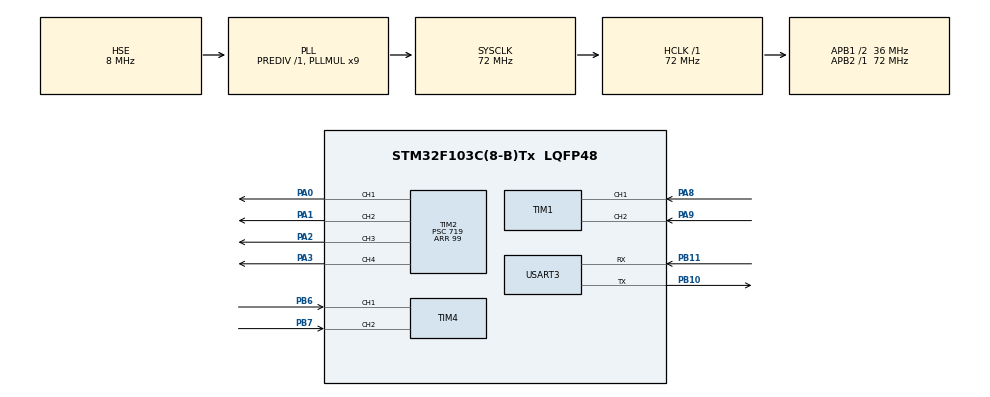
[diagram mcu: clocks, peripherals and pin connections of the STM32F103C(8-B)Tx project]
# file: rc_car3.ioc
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Dma.Request0=USART3_RX
Dma.Request1=USART3_TX
Dma.USART3_RX.0.Direction=DMA_PERIPH_TO_MEMORY
Dma.USART3_RX.0.Instance=DMA1_Channel3
Dma.USART3_RX.0.MemDataAlignment=DMA_MDATAALIGN_BYTE
Dma.USART3_RX.0.MemInc=DMA_MINC_ENABLE
Dma.USART3_RX.0.Mode=DMA_NORMAL
Dma.USART3_RX.0.PeriphDataAlignment=DMA_PDATAALIGN_BYTE
Dma.USART3_RX.0.PeriphInc=DMA_PINC_DISABLE
Dma.USART3_RX.0.Priority=DMA_PRIORITY_LOW
Dma.USART3_TX.1.Direction=DMA_MEMORY_TO_PERIPH
Dma.USART3_TX.1.Instance=DMA1_Channel2
Dma.USART3_TX.1.MemDataAlignment=DMA_MDATAALIGN_BYTE
Dma.USART3_TX.1.MemInc=DMA_MINC_ENABLE
Dma.USART3_TX.1.Mode=DMA_NORMAL
Dma.USART3_TX.1.PeriphDataAlignment=DMA_PDATAALIGN_BYTE
Dma.USART3_TX.1.PeriphInc=DMA_PINC_DISABLE
Dma.USART3_TX.1.Priority=DMA_PRIORITY_LOW
Mcu.Family=STM32F1
Mcu.Name=STM32F103C(8-B)Tx
Mcu.Package=LQFP48
NVIC.DMA1_Channel2_IRQn=true\:0\:0\:false\:false\:true\:false\:true\:true
NVIC.DMA1_Channel3_IRQn=true\:0\:0\:false\:false\:true\:false\:true\:true
NVIC.PriorityGroup=NVIC_PRIORITYGROUP_4
NVIC.TIM3_IRQn=true\:0\:0\:true\:false\:true\:true\:true\:true
NVIC.USART3_IRQn=true\:3\:0\:true\:false\:true\:true\:true\:true
PA0-WKUP.Signal=S_TIM2_CH1_ETR
PA1.Signal=S_TIM2_CH2
PA13.Mode=Serial_Wire
PA13.Signal=SYS_JTMS-SWDIO
PA14.Mode=Serial_Wire
PA14.Signal=SYS_JTCK-SWCLK
PA2.Signal=S_TIM2_CH3
PA3.Signal=S_TIM2_CH4
PA8.GPIO_PuPd=GPIO_PULLUP
PA8.Signal=S_TIM1_CH1
PA9.GPIO_PuPd=GPIO_PULLUP
PA9.Signal=S_TIM1_CH2
PB10.Mode=Asynchronous
PB10.Signal=USART3_TX
PB11.Mode=Asynchronous
PB11.Signal=USART3_RX
PB6.GPIO_PuPd=GPIO_PULLUP
PB6.Signal=S_TIM4_CH1
PB7.GPIO_PuPd=GPIO_PULLUP
PB7.Signal=S_TIM4_CH2
PD0-OSC_IN.Mode=HSE-External-Oscillator
PD0-OSC_IN.Signal=RCC_OSC_IN
PD1-OSC_OUT.Mode=HSE-External-Oscillator
PD1-OSC_OUT.Signal=RCC_OSC_OUT
ProjectManager.HeapSize=0x200
ProjectManager.StackSize=0x400
ProjectManager.TargetToolchain=STM32CubeIDE
RCC.AHBFreq_Value=72000000
RCC.APB1CLKDivider=RCC_HCLK_DIV2
RCC.APB1Freq_Value=36000000
RCC.APB1TimFreq_Value=72000000
RCC.APB2Freq_Value=72000000
RCC.APB2TimFreq_Value=72000000
RCC.HCLKFreq_Value=72000000
RCC.PLLMUL=RCC_PLL_MUL9
RCC.PLLSourceVirtual=RCC_PLLSOURCE_HSE
RCC.SYSCLKFreq_VALUE=72000000
RCC.SYSCLKSource=RCC_SYSCLKSOURCE_PLLCLK
RCC.USBFreq_Value=72000000
SH.S_TIM1_CH1.0=TIM1_CH1,Encoder_Interface
SH.S_TIM1_CH2.0=TIM1_CH2,Encoder_Interface
SH.S_TIM2_CH1_ETR.0=TIM2_CH1,PWM Generation1 CH1
SH.S_TIM2_CH2.0=TIM2_CH2,PWM Generation2 CH2
SH.S_TIM2_CH3.0=TIM2_CH3,PWM Generation3 CH3
SH.S_TIM2_CH4.0=TIM2_CH4,PWM Generation4 CH4
SH.S_TIM4_CH1.0=TIM4_CH1,Encoder_Interface
SH.S_TIM4_CH2.0=TIM4_CH2,Encoder_Interface
TIM2.Channel-PWM\ Generation1\ CH1=TIM_CHANNEL_1
TIM2.Channel-PWM\ Generation2\ CH2=TIM_CHANNEL_2
TIM2.Channel-PWM\ Generation3\ CH3=TIM_CHANNEL_3
TIM2.Channel-PWM\ Generation4\ CH4=TIM_CHANNEL_4
TIM2.Period=99
TIM2.Prescaler=719
TIM3.Period=99
TIM3.Prescaler=7199
USART3.VirtualMode=VM_ASYNC
VP_TIM2_VS_ClockSourceINT.Mode=Internal
VP_TIM3_VS_ClockSourceINT.Mode=Internal
board=custom

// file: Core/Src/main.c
/* USER CODE BEGIN Header */
/**
  ******************************************************************************
  * @file           : main.c
  * @brief          : Main program body
  ******************************************************************************
  * @attention
  *
  * Copyright (c) 2025 STMicroelectronics.
  * All rights reserved.
  *
  * This software is licensed under terms that can be found in the LICENSE file
  * in the root directory of this software component.
  * If no LICENSE file comes with this software, it is provided AS-IS.
  *
  ******************************************************************************
  */
/* USER CODE END Header */
#include "main.h"

/* USER CODE BEGIN Includes */
#include "stdio.h"
#include "string.h"
#include "../UserCode/Motor/motor.h"
#include "../UserCode/PID/pid.h"
#include "../UserCode/Serial/serial.h"
//#include "../UserCode/Motion/motion.h"
/* USER CODE END Includes */

//TIM_HandleTypeDef htim1;
//TIM_HandleTypeDef htim2;
//TIM_HandleTypeDef htim3;
//TIM_HandleTypeDef htim4;

//UART_HandleTypeDef huart3;
DMA_HandleTypeDef hdma_usart3_rx;
DMA_HandleTypeDef hdma_usart3_tx;

/* USER CODE BEGIN PV */
Motor_t tmotor1;
Motor_t tmotor2;

extern PROCESS_t tprocess;
PID_CONTROL_t tpid_ctrl1;
PID_CONTROL_t tpid_ctrl2;
extern char scmd[4];
extern float fset_point;
extern float fset_point1;
extern float fset_point2;
extern float fkp;
extern float fki;
extern float fkd;

extern float fkp1;
extern float fki1;
extern float fkd1;
extern float fkp2;
extern float fki2;
extern float fkd2;
uint8_t pid_init_flag = 0;

uint8_t rxB2B;
//uint8_t rxRawBuf[30] = { NULL };
uint8_t rxRawBuf[60] = { NULL };

volatile int8_t ptr;

/* USER CODE END PV */

void SystemClock_Config(void);
void MX_GPIO_Init(void);
static void MX_DMA_Init(void);
void MX_TIM2_Init(void);
void MX_TIM3_Init(void);
void MX_TIM1_Init(void);
void MX_TIM4_Init(void);
void MX_USART3_UART_Init(void);

int main(void)
{

  /* MCU Configuration--------------------------------------------------------*/

  /* Reset of all peripherals, Initializes the Flash interface and the Systick. */
  HAL_Init();

  /* Configure the system clock */
  SystemClock_Config();

  /* Initialize all configured peripherals */
  MX_GPIO_Init();
  MX_DMA_Init();
  MX_TIM2_Init();
  MX_TIM3_Init();
  MX_TIM1_Init();
  MX_TIM4_Init();
  MX_USART3_UART_Init();
  /* USER CODE BEGIN 2 */
  motor_init(&tmotor1, 1);
  motor_init(&tmotor2, 2);
  pid_init(&tpid_ctrl1, 1, 0.5, 0, PID_CONTROLLER_LIMIT_MAX, PID_CONTROLLER_LIMIT_MIN, SAMPLING_TIME);
  pid_init(&tpid_ctrl2, 1, 0.5, 0, PID_CONTROLLER_LIMIT_MAX, PID_CONTROLLER_LIMIT_MIN, SAMPLING_TIME);
  serial_init();
  HAL_UART_Receive_DMA(&huart3, &rxB2B, 1);
//	HAL_UART_Receive_IT(&huart3, &rxB2B, 20);

  //  pid_tunning_set(&tpid_ctrl1, fkp, fki, fkd)
  /* USER CODE END 2 */

  /* Infinite loop */
  while (1)
   {

     /* USER CODE BEGIN 3 */
 	    switch (tprocess)
 	    {
 	    case NONE:
 	    	motor_deinit(&tmotor1, 1);
 	    	motor_deinit(&tmotor2, 2);

 	    	tmotor1.fposition = 0;
 	    	tmotor2.fposition = 0;
 	    	tmotor1.freference_position = 0;
 	    	tmotor2.freference_position = 0;
 	    	  motor_init(&tmotor1, 1);
 	    	  motor_init(&tmotor2, 2);
//			  motor_reset(&tmotor1); //moi them
//			  motor_reset(&tmotor2); //moi them
 	      break;
 	    case SPID:
          tprocess = NONE;
 	      break;
 	    case VTUN:
 	      break;
 	    case PTUN:
 	      break;
 	    case STOP:
 	      tprocess = NONE;
 	      break;
 	    }
   }
  /* USER CODE END 3 */
}

/* USER CODE BEGIN 4 */
void HAL_TIM_PeriodElapsedCallback(TIM_HandleTypeDef *htim)	// 10ms = 0.01s
{
	if (htim->Instance == htim3.Instance)
	{
			motor_read_encoder(&tmotor1, &ENCODER_TIMER1);
			motor_read_encoder(&tmotor2, &ENCODER_TIMER2);
		  switch (tprocess) {
			case NONE:
				break;
			case SPID:
				break;
			case VTUN:
				motor_set_velocity(&tmotor1, &tpid_ctrl1, fset_point1);
				motor_set_velocity(&tmotor2, &tpid_ctrl2, fset_point2);
//				serial_write_com(scmd, tmotor1.fvelocity, tpid_ctrl1.fkp, tpid_ctrl1.fki, tpid_ctrl1.fkd); //Transmit o day thi ok vi khong bị interrupt làm gián đoạn
				break;
			case PTUN:
				motor_set_position(&tmotor1, &tpid_ctrl1, fset_point1);
				motor_set_position(&tmotor2, &tpid_ctrl2, fset_point2);

//				serial_write_com(scmd, tmotor1.fposition, tpid_ctrl1.fkp, tpid_ctrl1.fki, tpid_ctrl1.fkd); //Transmit o day thi ok vi khong bị interrupt làm gián đoạn
				break;
			case STOP:
				break;
//			case RSET:
//				break;
		}
	}
}

void HAL_UART_RxCpltCallback(UART_HandleTypeDef *huart)
{
	if (huart->Instance == huart3.Instance)
	{
		rxRawBuf[ptr] = rxB2B;
		ptr++;
		if (rxRawBuf[ptr - 1] == '\n')
		{
//			sscanf(rxRawBuf, "%s %f %f %f %f %f", scmd, &fset_point1, &fset_point2, &fkp, &fki, &fkd);
			sscanf(rxRawBuf, "%s %f %f %f %f %f %f %f %f", scmd, &fset_point1, &fset_point2, &fkp1, &fki1, &fkd1, &fkp2, &fki2, &fkd2);

			if (StrCompare(scmd, (uint8_t*)"SPID", 4))
			{
			  pid_tunning_set(&tpid_ctrl1, fkp1, fki1, fkd1);
			  pid_tunning_set(&tpid_ctrl2, fkp2, fki2, fkd2);

			  motor_deinit(&tmotor1, 1);
			  motor_deinit(&tmotor2, 2);
			  motor_init(&tmotor1, 1);
			  motor_init(&tmotor2, 2);

			  /* To ensure stop moving */
			  htim2.Instance->CCR1 = 0;
			  htim2.Instance->CCR2 = 0;
			  htim2.Instance->CCR3 = 0;
			  htim2.Instance->CCR4 = 0;

			  tprocess = SPID;
			}
			else if (StrCompare(scmd, (uint8_t*)"VTUN", 4))
			{
			  tmotor1.freference_velocity = fset_point1;
			  tmotor2.freference_velocity = fset_point2;

			  tprocess = VTUN;
			}
			else if (StrCompare(scmd, (uint8_t*)"PTUN", 4))
			{
			  tmotor1.freference_position = fset_point1;
			  tmotor2.freference_position = fset_point2;

			  tprocess = PTUN;
			}
			else if (StrCompare(scmd, (uint8_t*)"STOP", 4))
			{
			  motor_deinit(&tmotor1, 1);
			  motor_deinit(&tmotor2, 2);
			  pid_reset(&tpid_ctrl1);

			  pid_reset(&tpid_ctrl2);
			  motor_reset(&tmotor1); //moi them
			  motor_reset(&tmotor2); //moi them

			  tprocess = STOP;
			}
			else if (StrCompare(scmd, (uint8_t*)"NONE", 4))
			{
			  tprocess = NONE;
			}
		    memset(rxRawBuf, '\0', sizeof(rxRawBuf));
		    ptr = 0;
		}
		if (strlen(rxRawBuf) > 50)		    memset(rxRawBuf, '\0', sizeof(rxRawBuf));
	}
//	HAL_UART_Receive_IT(&huart3, &rxB2B, 20);
	HAL_UART_Receive_DMA(&huart3, &rxB2B, 1);
}

void SystemClock_Config(void)
{
  RCC_OscInitTypeDef RCC_OscInitStruct = {0};
  RCC_ClkInitTypeDef RCC_ClkInitStruct = {0};

  /** Initializes the RCC Oscillators according to the specified parameters
  * in the RCC_OscInitTypeDef structure.
  */
  RCC_OscInitStruct.OscillatorType = RCC_OSCILLATORTYPE_HSE;
  RCC_OscInitStruct.HSEState = RCC_HSE_ON;
  RCC_OscInitStruct.HSEPredivValue = RCC_HSE_PREDIV_DIV1;
  RCC_OscInitStruct.HSIState = RCC_HSI_ON;
  RCC_OscInitStruct.PLL.PLLState = RCC_PLL_ON;
  RCC_OscInitStruct.PLL.PLLSource = RCC_PLLSOURCE_HSE;
  RCC_OscInitStruct.PLL.PLLMUL = RCC_PLL_MUL9;
  if (HAL_RCC_OscConfig(&RCC_OscInitStruct) != HAL_OK)
  {
    Error_Handler();
  }

  /** Initializes the CPU, AHB and APB buses clocks
  */
  RCC_ClkInitStruct.ClockType = RCC_CLOCKTYPE_HCLK|RCC_CLOCKTYPE_SYSCLK
                              |RCC_CLOCKTYPE_PCLK1|RCC_CLOCKTYPE_PCLK2;
  RCC_ClkInitStruct.SYSCLKSource = RCC_SYSCLKSOURCE_PLLCLK;
  RCC_ClkInitStruct.AHBCLKDivider = RCC_SYSCLK_DIV1;
  RCC_ClkInitStruct.APB1CLKDivider = RCC_HCLK_DIV2;
  RCC_ClkInitStruct.APB2CLKDivider = RCC_HCLK_DIV1;

  if (HAL_RCC_ClockConfig(&RCC_ClkInitStruct, FLASH_LATENCY_2) != HAL_OK)
  {
    Error_Handler();
  }
}

//static void MX_TIM1_Init(void)
//{
//
//  /* USER CODE BEGIN TIM1_Init 0 */
//
//  /* USER CODE END TIM1_Init 0 */
//
//  TIM_Encoder_InitTypeDef sConfig = {0};
//  TIM_MasterConfigTypeDef sMasterConfig = {0};
//
//  /* USER CODE BEGIN TIM1_Init 1 */
//
//  /* USER CODE END TIM1_Init 1 */
//  htim1.Instance = TIM1;
//  htim1.Init.Prescaler = 0;
//  htim1.Init.CounterMode = TIM_COUNTERMODE_UP;
//  htim1.Init.Period = 65535;
//  htim1.Init.ClockDivision = TIM_CLOCKDIVISION_DIV1;
//  htim1.Init.RepetitionCounter = 0;
//  htim1.Init.AutoReloadPreload = TIM_AUTORELOAD_PRELOAD_DISABLE;
//  sConfig.EncoderMode = TIM_ENCODERMODE_TI1;
//  sConfig.IC1Polarity = TIM_ICPOLARITY_RISING;
//  sConfig.IC1Selection = TIM_ICSELECTION_DIRECTTI;
//  sConfig.IC1Prescaler = TIM_ICPSC_DIV1;
//  sConfig.IC1Filter = 0;
//  sConfig.IC2Polarity = TIM_ICPOLARITY_RISING;
//  sConfig.IC2Selection = TIM_ICSELECTION_DIRECTTI;
//  sConfig.IC2Prescaler = TIM_ICPSC_DIV1;
//  sConfig.IC2Filter = 0;
//  if (HAL_TIM_Encoder_Init(&htim1, &sConfig) != HAL_OK)
//  {
//    Error_Handler();
//  }
//  sMasterConfig.MasterOutputTrigger = TIM_TRGO_RESET;
//  sMasterConfig.MasterSlaveMode = TIM_MASTERSLAVEMODE_DISABLE;
//  if (HAL_TIMEx_MasterConfigSynchronization(&htim1, &sMasterConfig) != HAL_OK)
//  {
//    Error_Handler();
//  }
//  /* USER CODE BEGIN TIM1_Init 2 */
//
//  /* USER CODE END TIM1_Init 2 */
//
//}
//
///**
//  * @brief TIM2 Initialization Function
//  * @param None
//  * @retval None
//  */
//static void MX_TIM2_Init(void)
//{
//
//  /* USER CODE BEGIN TIM2_Init 0 */
//
//  /* USER CODE END TIM2_Init 0 */
//
//  TIM_ClockConfigTypeDef sClockSourceConfig = {0};
//  TIM_MasterConfigTypeDef sMasterConfig = {0};
//  TIM_OC_InitTypeDef sConfigOC = {0};
//
//  /* USER CODE BEGIN TIM2_Init 1 */
//
//  /* USER CODE END TIM2_Init 1 */
//  htim2.Instance = TIM2;
//  htim2.Init.Prescaler = 719;
//  htim2.Init.CounterMode = TIM_COUNTERMODE_UP;
//  htim2.Init.Period = 99;
//  htim2.Init.ClockDivision = TIM_CLOCKDIVISION_DIV1;
//  htim2.Init.AutoReloadPreload = TIM_AUTORELOAD_PRELOAD_DISABLE;
//  if (HAL_TIM_Base_Init(&htim2) != HAL_OK)
//  {
//    Error_Handler();
//  }
//  sClockSourceConfig.ClockSource = TIM_CLOCKSOURCE_INTERNAL;
//  if (HAL_TIM_ConfigClockSource(&htim2, &sClockSourceConfig) != HAL_OK)
//  {
//    Error_Handler();
//  }
//  if (HAL_TIM_PWM_Init(&htim2) != HAL_OK)
//  {
//    Error_Handler();
//  }
//  sMasterConfig.MasterOutputTrigger = TIM_TRGO_RESET;
//  sMasterConfig.MasterSlaveMode = TIM_MASTERSLAVEMODE_DISABLE;
//  if (HAL_TIMEx_MasterConfigSynchronization(&htim2, &sMasterConfig) != HAL_OK)
//  {
//    Error_Handler();
//  }
//  sConfigOC.OCMode = TIM_OCMODE_PWM1;
//  sConfigOC.Pulse = 0;
//  sConfigOC.OCPolarity = TIM_OCPOLARITY_HIGH;
//  sConfigOC.OCFastMode = TIM_OCFAST_DISABLE;
//  if (HAL_TIM_PWM_ConfigChannel(&htim2, &sConfigOC, TIM_CHANNEL_1) != HAL_OK)
//  {
//    Error_Handler();
//  }
//  if (HAL_TIM_PWM_ConfigChannel(&htim2, &sConfigOC, TIM_CHANNEL_2) != HAL_OK)
//  {
//    Error_Handler();
//  }
//  if (HAL_TIM_PWM_ConfigChannel(&htim2, &sConfigOC, TIM_CHANNEL_3) != HAL_OK)
//  {
//    Error_Handler();
//  }
//  if (HAL_TIM_PWM_ConfigChannel(&htim2, &sConfigOC, TIM_CHANNEL_4) != HAL_OK)
//  {
//    Error_Handler();
//  }
//  /* USER CODE BEGIN TIM2_Init 2 */
//
//  /* USER CODE END TIM2_Init 2 */
//  HAL_TIM_MspPostInit(&htim2);
//
//}
//
///**
//  * @brief TIM3 Initialization Function
//  * @param None
//  * @retval None
//  */
//static void MX_TIM3_Init(void)
//{
//
//  /* USER CODE BEGIN TIM3_Init 0 */
//
//  /* USER CODE END TIM3_Init 0 */
//
//  TIM_ClockConfigTypeDef sClockSourceConfig = {0};
//  TIM_MasterConfigTypeDef sMasterConfig = {0};
//
//  /* USER CODE BEGIN TIM3_Init 1 */
//
//  /* USER CODE END TIM3_Init 1 */
//  htim3.Instance = TIM3;
//  htim3.Init.Prescaler = 7199;
//  htim3.Init.CounterMode = TIM_COUNTERMODE_UP;
//  htim3.Init.Period = 99;
//  htim3.Init.ClockDivision = TIM_CLOCKDIVISION_DIV1;
//  htim3.Init.AutoReloadPreload = TIM_AUTORELOAD_PRELOAD_DISABLE;
//  if (HAL_TIM_Base_Init(&htim3) != HAL_OK)
//  {
//    Error_Handler();
//  }
//  sClockSourceConfig.ClockSource = TIM_CLOCKSOURCE_INTERNAL;
//  if (HAL_TIM_ConfigClockSource(&htim3, &sClockSourceConfig) != HAL_OK)
//  {
//    Error_Handler();
//  }
//  sMasterConfig.MasterOutputTrigger = TIM_TRGO_RESET;
//  sMasterConfig.MasterSlaveMode = TIM_MASTERSLAVEMODE_DISABLE;
//  if (HAL_TIMEx_MasterConfigSynchronization(&htim3, &sMasterConfig) != HAL_OK)
//  {
//    Error_Handler();
//  }
//  /* USER CODE BEGIN TIM3_Init 2 */
//
//  /* USER CODE END TIM3_Init 2 */
//
//}
//
///**
//  * @brief TIM4 Initialization Function
//  * @param None
//  * @retval None
//  */
//static void MX_TIM4_Init(void)
//{
//
//  /* USER CODE BEGIN TIM4_Init 0 */
//
//  /* USER CODE END TIM4_Init 0 */
//
//  TIM_Encoder_InitTypeDef sConfig = {0};
//  TIM_MasterConfigTypeDef sMasterConfig = {0};
//
//  /* USER CODE BEGIN TIM4_Init 1 */
//
//  /* USER CODE END TIM4_Init 1 */
//  htim4.Instance = TIM4;
//  htim4.Init.Prescaler = 0;
//  htim4.Init.CounterMode = TIM_COUNTERMODE_UP;
//  htim4.Init.Period = 65535;
//  htim4.Init.ClockDivision = TIM_CLOCKDIVISION_DIV1;
//  htim4.Init.AutoReloadPreload = TIM_AUTORELOAD_PRELOAD_DISABLE;
//  sConfig.EncoderMode = TIM_ENCODERMODE_TI1;
//  sConfig.IC1Polarity = TIM_ICPOLARITY_RISING;
//  sConfig.IC1Selection = TIM_ICSELECTION_DIRECTTI;
//  sConfig.IC1Prescaler = TIM_ICPSC_DIV1;
//  sConfig.IC1Filter = 0;
//  sConfig.IC2Polarity = TIM_ICPOLARITY_RISING;
//  sConfig.IC2Selection = TIM_ICSELECTION_DIRECTTI;
//  sConfig.IC2Prescaler = TIM_ICPSC_DIV1;
//  sConfig.IC2Filter = 0;
//  if (HAL_TIM_Encoder_Init(&htim4, &sConfig) != HAL_OK)
//  {
//    Error_Handler();
//  }
//  sMasterConfig.MasterOutputTrigger = TIM_TRGO_RESET;
//  sMasterConfig.MasterSlaveMode = TIM_MASTERSLAVEMODE_DISABLE;
//  if (HAL_TIMEx_MasterConfigSynchronization(&htim4, &sMasterConfig) != HAL_OK)
//  {
//    Error_Handler();
//  }
//  /* USER CODE BEGIN TIM4_Init 2 */
//
//  /* USER CODE END TIM4_Init 2 */
//
//}
//
///**
//  * @brief USART3 Initialization Function
//  * @param None
//  * @retval None
//  */
//static void MX_USART3_UART_Init(void)
//{
//
//  /* USER CODE BEGIN USART3_Init 0 */
//
//  /* USER CODE END USART3_Init 0 */
//
//  /* USER CODE BEGIN USART3_Init 1 */
//
//  /* USER CODE END USART3_Init 1 */
//  huart3.Instance = USART3;
//  huart3.Init.BaudRate = 115200;
//  huart3.Init.WordLength = UART_WORDLENGTH_8B;
//  huart3.Init.StopBits = UART_STOPBITS_1;
//  huart3.Init.Parity = UART_PARITY_NONE;
//  huart3.Init.Mode = UART_MODE_TX_RX;
//  huart3.Init.HwFlowCtl = UART_HWCONTROL_NONE;
//  huart3.Init.OverSampling = UART_OVERSAMPLING_16;
//  if (HAL_UART_Init(&huart3) != HAL_OK)
//  {
//    Error_Handler();
//  }
//  /* USER CODE BEGIN USART3_Init 2 */
//
//  /* USER CODE END USART3_Init 2 */
//
//}
//
static void MX_DMA_Init(void)
{

  /* DMA controller clock enable */
  __HAL_RCC_DMA1_CLK_ENABLE();

  /* DMA interrupt init */
  /* DMA1_Channel2_IRQn interrupt configuration */
  HAL_NVIC_SetPriority(DMA1_Channel2_IRQn, 0, 0);
  HAL_NVIC_EnableIRQ(DMA1_Channel2_IRQn);
  /* DMA1_Channel3_IRQn interrupt configuration */
  HAL_NVIC_SetPriority(DMA1_Channel3_IRQn, 0, 0);
  HAL_NVIC_EnableIRQ(DMA1_Channel3_IRQn);

}

//static void MX_GPIO_Init(void)
//{
///* USER CODE BEGIN MX_GPIO_Init_1 */
///* USER CODE END MX_GPIO_Init_1 */
//
//  /* GPIO Ports Clock Enable */
//  __HAL_RCC_GPIOD_CLK_ENABLE();
//  __HAL_RCC_GPIOA_CLK_ENABLE();
//  __HAL_RCC_GPIOB_CLK_ENABLE();
//
///* USER CODE BEGIN MX_GPIO_Init_2 */
///* USER CODE END MX_GPIO_Init_2 */
//}
//
///* USER CODE BEGIN 4 */
//
///* USER CODE END 4 */

void Error_Handler(void)
{
  __disable_irq();
  while (1)
  {
  }
}
